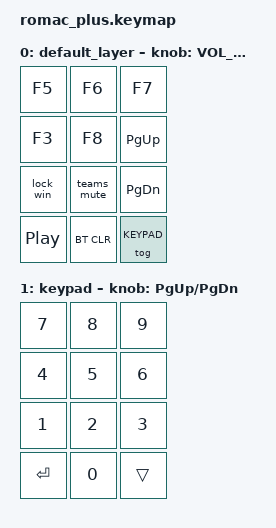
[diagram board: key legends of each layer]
/*
 * Copyright (c) 2020 The ZMK Contributors
 *
 * SPDX-License-Identifier: MIT
 */

#include <behaviors.dtsi>
#include <dt-bindings/zmk/bt.h>
#include <dt-bindings/zmk/keys.h>
#include <dt-bindings/zmk/rgb.h>

#define DEFAULT 0
#define KEYPAD  1

&led_strip {
    chain-length = <4>;
};

/ {

chosen {
        zmk,underglow = &led_strip;
    };

macros {
        zed_em_kay: zed_em_kay {
            label = "ZM_zed_em_kay";
            compatible = "zmk,behavior-macro";
            #binding-cells = <0>;
            bindings
                = <&macro_press &kp LSHFT>
                , <&macro_tap &kp Z &kp M &kp K>
                , <&macro_release &kp LSHFT>
                ;
        };
        teams_mute: teams_mute {
            label = "teams_mute";
            compatible = "zmk,behavior-macro";
            #binding-cells = <0>;
            bindings
                = <&macro_press &kp LSHFT>
                , <&macro_press &kp LCTRL>
                , <&macro_tap &kp M>
                , <&macro_release &kp LSHFT>
                , <&macro_release &kp LCTRL>
                ;
        };
        lock_win: lock_win {
            label = "lock_win";
            compatible = "zmk,behavior-macro";
            #binding-cells = <0>;
            bindings
                = <&macro_press &kp LEFT_WIN>
                , <&macro_press &kp L>
                ;
        };
    };

    keymap {
        compatible = "zmk,keymap";

        default_layer {
// --------------------------
// | F5          |  F6        |  F7      |
// | F3          |  F8        |  PG_UP   |
// | Lock_Win    |  TeamsMute |  PG_DOWN |
// | M_PLAY      |  BT_CLEAR  |  TOGGLE  |
// --------------------------
             bindings = <
     &kp F5       &kp F6         &kp F7
     &kp F3       &kp F8         &kp PG_UP
     &lock_win    &teams_mute    &kp PG_DN
     &kp C_PP     &bt BT_CLR     &tog KEYPAD
             >;

             sensor-bindings = <&inc_dec_kp C_VOL_DN C_VOL_UP>;
         };

        keypad {
// --------------------------
// | 7      |  8  |  9      |
// | 4      |  5  |  6      |
// | 1      |  2  |  3      |
// | ENTER  |  0  |  TOGGLE |
// --------------------------
            bindings = <
    &kp N7       &kp N8     &kp N9
    &kp N4       &kp N5     &kp N6
    &kp N1       &kp N2     &kp N3
    &kp ENTER    &kp N0     &trans
            >;

            sensor-bindings = <&inc_dec_kp PG_UP PG_DN>;
        };

         
    };
};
